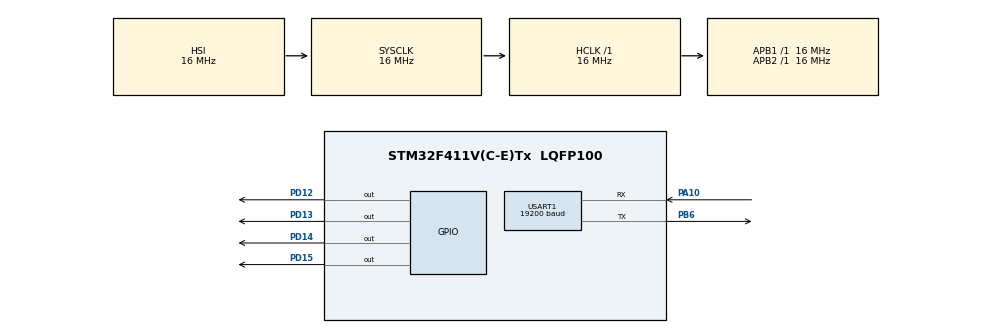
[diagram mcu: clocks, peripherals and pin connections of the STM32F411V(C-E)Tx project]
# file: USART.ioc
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Mcu.Family=STM32F4
Mcu.Name=STM32F411V(C-E)Tx
Mcu.Package=LQFP100
NVIC.PriorityGroup=NVIC_PRIORITYGROUP_4
PA10.Mode=Asynchronous
PA10.Signal=USART1_RX
PB6.Mode=Asynchronous
PB6.Signal=USART1_TX
PD12.Signal=GPIO_Output
PD13.Signal=GPIO_Output
PD14.Signal=GPIO_Output
PD15.Signal=GPIO_Output
ProjectManager.HeapSize=0x200
ProjectManager.StackSize=0x400
ProjectManager.TargetToolchain=STM32CubeIDE
RCC.AHBFreq_Value=16000000
RCC.APB1Freq_Value=16000000
RCC.APB2Freq_Value=16000000
RCC.CortexFreq_Value=16000000
RCC.HSE_VALUE=25000000
RCC.HSI_VALUE=16000000
RCC.LSE_VALUE=32768
RCC.SYSCLKFreq_VALUE=16000000
RCC.VCOOutputFreq_Value=192000000
USART1.BaudRate=19200
USART1.VirtualMode=VM_ASYNC
board=custom

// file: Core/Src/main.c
/* USER CODE BEGIN Header */
/**
  ******************************************************************************
  * @file           : main.c
  * @brief          : Main program body
  ******************************************************************************
  * @attention
  *
  * Copyright (c) 2023 STMicroelectronics.
  * All rights reserved.
  *
  * This software is licensed under terms that can be found in the LICENSE file
  * in the root directory of this software component.
  * If no LICENSE file comes with this software, it is provided AS-IS.
  *
  ******************************************************************************
  */
/* USER CODE END Header */
#include "main.h"

UART_HandleTypeDef huart1;

void SystemClock_Config(void);
static void MX_GPIO_Init(void);
static void MX_USART1_UART_Init(void);

int main(void)
{

  /* MCU Configuration--------------------------------------------------------*/

  /* Reset of all peripherals, Initializes the Flash interface and the Systick. */
  HAL_Init();

  /* Configure the system clock */
  SystemClock_Config();

  /* Initialize all configured peripherals */
  MX_GPIO_Init();
  MX_USART1_UART_Init();

  /* Infinite loop */
  /* USER CODE BEGIN WHILE */
  while (1)
  {
	  uint8_t rcvBuf[1];
	  HAL_StatusTypeDef result;

	  result = HAL_UART_Receive(&huart1, rcvBuf, 1, 100);

	  if (result == HAL_OK) {
		  switch(rcvBuf[0]) {
		  	  case '1':
				  HAL_GPIO_WritePin(GPIOD, GPIO_PIN_12, GPIO_PIN_SET);
				  HAL_UART_Transmit(&huart1, (uint8_t *)" -GREEN ON\n\r", 12, 100);
				  break;
		  	  case '2':
				  HAL_GPIO_WritePin(GPIOD, GPIO_PIN_12, GPIO_PIN_RESET);
				  HAL_UART_Transmit(&huart1, (uint8_t *)" -GREEN OFF\n\r", 13, 100);
				  break;
		  	  case '3':
				  HAL_GPIO_WritePin(GPIOD, GPIO_PIN_13, GPIO_PIN_SET);
				  HAL_UART_Transmit(&huart1, (uint8_t *)" -ORANGE ON\n\r", 13, 100);
				  break;
		  	  case '4':
				  HAL_GPIO_WritePin(GPIOD, GPIO_PIN_13, GPIO_PIN_RESET);
				  HAL_UART_Transmit(&huart1, (uint8_t *)" -ORANGE OFF\n\r", 14, 100);
				  break;
		  	  case '5':
		  		  HAL_GPIO_WritePin(GPIOD, GPIO_PIN_14, GPIO_PIN_SET);
		  		  HAL_UART_Transmit(&huart1, (uint8_t *)" -RED ON\n\r", 10, 100);
		  		  break;
		  	  case '6':
				  HAL_GPIO_WritePin(GPIOD, GPIO_PIN_14, GPIO_PIN_RESET);
				  HAL_UART_Transmit(&huart1, (uint8_t *)" -RED OFF\n\r", 11, 100);
				  break;
		  	  case '7':
		  		  HAL_GPIO_WritePin(GPIOD, GPIO_PIN_15, GPIO_PIN_SET);
		  		  HAL_UART_Transmit(&huart1, (uint8_t *)" -BLUE ON\n\r", 11, 100);
		  		  break;
		  	  case '8':
				  HAL_GPIO_WritePin(GPIOD, GPIO_PIN_15, GPIO_PIN_RESET);
				  HAL_UART_Transmit(&huart1, (uint8_t *)" -BLUE OFF\n\r", 12, 100);
				  break;
		  	  case 'a':
		  		  HAL_GPIO_WritePin(GPIOD, GPIO_PIN_12|GPIO_PIN_13|GPIO_PIN_14|GPIO_PIN_15, GPIO_PIN_SET);
		  		  HAL_UART_Transmit(&huart1, (uint8_t *)" -ALL ON\n\r", 10, 100);
		  		  break;
		  	  case 's':
		  		  HAL_GPIO_WritePin(GPIOD, GPIO_PIN_12|GPIO_PIN_13|GPIO_PIN_14|GPIO_PIN_15, GPIO_PIN_RESET);
				  HAL_UART_Transmit(&huart1, (uint8_t *)" -ALL OFF\n\r", 11, 100);
				  break;

		  	  default:
		  		  HAL_UART_Transmit(&huart1, (uint8_t *)" -WRONG COMMAND\n\r", 17, 100);
		  		  break;

		  }
	  }
    /* USER CODE END WHILE */

  }
}

void SystemClock_Config(void)
{
  RCC_OscInitTypeDef RCC_OscInitStruct = {0};
  RCC_ClkInitTypeDef RCC_ClkInitStruct = {0};

  /** Configure the main internal regulator output voltage
  */
  __HAL_RCC_PWR_CLK_ENABLE();
  __HAL_PWR_VOLTAGESCALING_CONFIG(PWR_REGULATOR_VOLTAGE_SCALE1);

  /** Initializes the RCC Oscillators according to the specified parameters
  * in the RCC_OscInitTypeDef structure.
  */
  RCC_OscInitStruct.OscillatorType = RCC_OSCILLATORTYPE_HSI;
  RCC_OscInitStruct.HSIState = RCC_HSI_ON;
  RCC_OscInitStruct.HSICalibrationValue = RCC_HSICALIBRATION_DEFAULT;
  RCC_OscInitStruct.PLL.PLLState = RCC_PLL_NONE;
  if (HAL_RCC_OscConfig(&RCC_OscInitStruct) != HAL_OK)
  {
    Error_Handler();
  }

  /** Initializes the CPU, AHB and APB buses clocks
  */
  RCC_ClkInitStruct.ClockType = RCC_CLOCKTYPE_HCLK|RCC_CLOCKTYPE_SYSCLK
                              |RCC_CLOCKTYPE_PCLK1|RCC_CLOCKTYPE_PCLK2;
  RCC_ClkInitStruct.SYSCLKSource = RCC_SYSCLKSOURCE_HSI;
  RCC_ClkInitStruct.AHBCLKDivider = RCC_SYSCLK_DIV1;
  RCC_ClkInitStruct.APB1CLKDivider = RCC_HCLK_DIV1;
  RCC_ClkInitStruct.APB2CLKDivider = RCC_HCLK_DIV1;

  if (HAL_RCC_ClockConfig(&RCC_ClkInitStruct, FLASH_LATENCY_0) != HAL_OK)
  {
    Error_Handler();
  }
}

static void MX_USART1_UART_Init(void)
{

  huart1.Instance = USART1;
  huart1.Init.BaudRate = 19200;
  huart1.Init.WordLength = UART_WORDLENGTH_8B;
  huart1.Init.StopBits = UART_STOPBITS_1;
  huart1.Init.Parity = UART_PARITY_NONE;
  huart1.Init.Mode = UART_MODE_TX_RX;
  huart1.Init.HwFlowCtl = UART_HWCONTROL_NONE;
  huart1.Init.OverSampling = UART_OVERSAMPLING_16;
  if (HAL_UART_Init(&huart1) != HAL_OK)
  {
    Error_Handler();
  }

}

static void MX_GPIO_Init(void)
{
  GPIO_InitTypeDef GPIO_InitStruct = {0};

  /* GPIO Ports Clock Enable */
  __HAL_RCC_GPIOD_CLK_ENABLE();
  __HAL_RCC_GPIOA_CLK_ENABLE();
  __HAL_RCC_GPIOB_CLK_ENABLE();

  /*Configure GPIO pin Output Level */
  HAL_GPIO_WritePin(GPIOD, GPIO_PIN_12|GPIO_PIN_13|GPIO_PIN_14|GPIO_PIN_15, GPIO_PIN_RESET);

  /*Configure GPIO pins : PD12 PD13 PD14 PD15 */
  GPIO_InitStruct.Pin = GPIO_PIN_12|GPIO_PIN_13|GPIO_PIN_14|GPIO_PIN_15;
  GPIO_InitStruct.Mode = GPIO_MODE_OUTPUT_PP;
  GPIO_InitStruct.Pull = GPIO_NOPULL;
  GPIO_InitStruct.Speed = GPIO_SPEED_FREQ_LOW;
  HAL_GPIO_Init(GPIOD, &GPIO_InitStruct);

}

void Error_Handler(void)
{
  __disable_irq();
  while (1)
  {
  }
}
